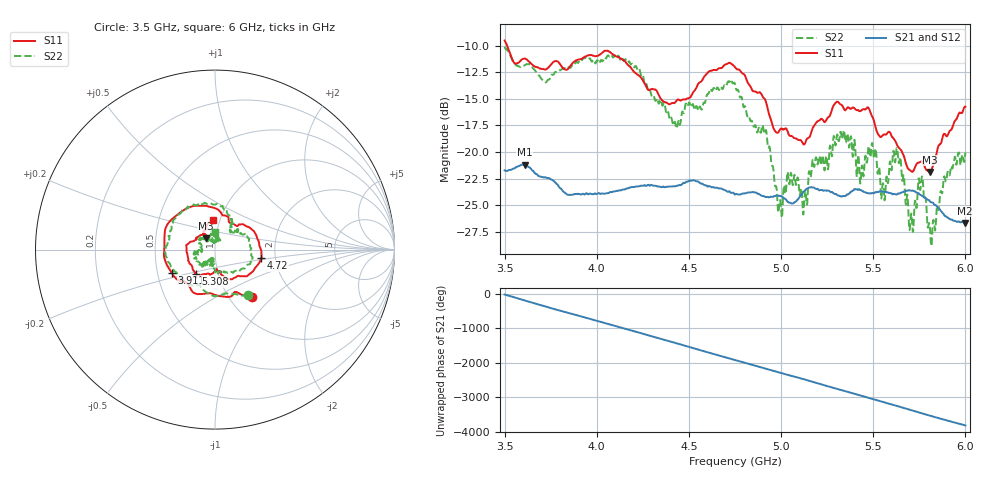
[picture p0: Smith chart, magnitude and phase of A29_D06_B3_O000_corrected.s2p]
! Created with skrf 1.9.0 (http://scikit-rf.org).
# Hz S RI R 50.0
!freq ReS11 ImS11 ReS21 ImS21 ReS12 ImS12 ReS22 ImS22
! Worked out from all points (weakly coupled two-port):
!   1601 points, 3.5 GHz to 6 GHz, reference 50 ohm
!   highest |S21| = -21.19 dB at 3.609 GHz (marker M1); lowest = -26.7 dB at 5.998 GHz (marker M2)
!   lowest |S11| = -21.9 dB at 5.806 GHz (marker M3), VSWR 1.18, Z = 44.8 + j5.61 ohm
!   |S11| at or under -10 dB: 3.514 GHz to end of sweep
!   |S22| runs from -28.9 to -10.1 dB; largest |S21 - S12| = 0.00091
!   S11 on the Smith chart (normalised r, x): 3.5 GHz: 1.27, -0.76; 3.911 GHz: 0.59, -0.17; 4.72 GHz: 1.69, -0.16; 5.308 GHz: 0.78, -0.22; 6 GHz: 0.93, +0.31
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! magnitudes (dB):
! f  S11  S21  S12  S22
! 3.5 GHz  -9.5  -21.7  -21.7  -10.1
! 3.609 GHz  -11.2  -21.2  -21.2  -11.8
! 3.911 GHz  -11.3  -24.0  -23.9  -11.4
! 3.917 GHz  -11.2  -24.0  -24.0  -11.4
! 4.334 GHz  -14.6  -23.3  -23.2  -15.4
! 4.441 GHz  -15.1  -23.2  -23.1  -17.2
! 4.72 GHz  -11.6  -23.7  -23.7  -13.4
! 4.75 GHz  -12.0  -24.0  -23.9  -13.6
! 4.911 GHz  -15.0  -24.2  -24.1  -18.3
! 4.994 GHz  -17.9  -24.1  -24.1  -24.6
! 5.044 GHz  -18.4  -24.8  -24.7  -23.0
! 5.13 GHz  -19.2  -23.6  -23.6  -23.7
! 5.167 GHz  -17.9  -23.3  -23.3  -21.3
! 5.308 GHz  -15.3  -24.1  -24.0  -18.5
! 5.553 GHz  -18.4  -23.7  -23.7  -22.9
! 5.584 GHz  -18.1  -23.9  -23.8  -22.2
! 5.638 GHz  -19.6  -23.9  -23.9  -20.9
! 5.706 GHz  -21.8  -23.6  -23.6  -25.8
! 5.758 GHz  -20.9  -24.0  -24.0  -23.2
! 5.806 GHz  -21.9  -24.6  -24.6  -27.0
! 5.998 GHz  -15.7  -26.7  -26.6  -20.3
! 6 GHz  -15.7  -26.7  -26.6  -20.0
